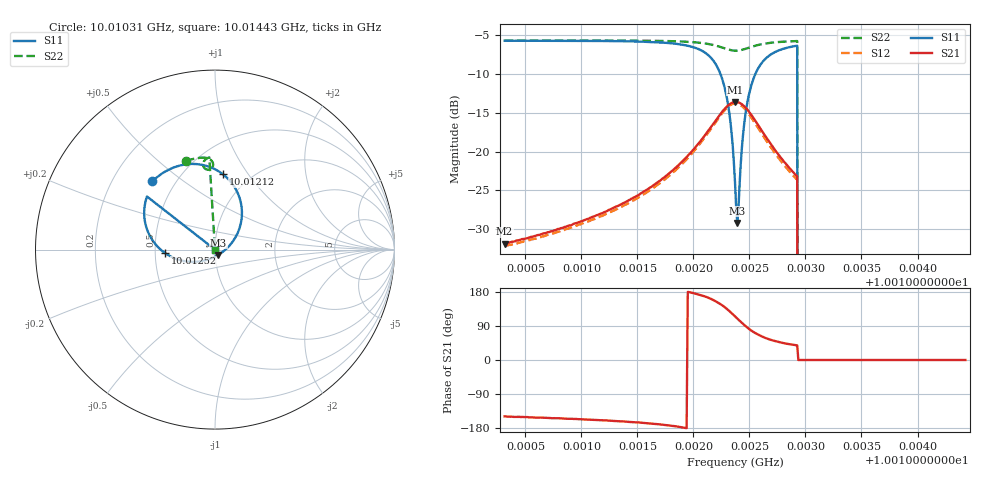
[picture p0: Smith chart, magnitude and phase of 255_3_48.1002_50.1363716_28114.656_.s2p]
#  HZ  S  RI  R  50.00
! Rohde & Schwarz Vector Network Analyzer
! Rohde-Schwarz,ZNB20-2Port,1311601062101988,3.16
! Created: UTC 12/23/2023, 4:00:12 AM
! freq[Hz]  re:S11  im:S11  re:S21  im:S21  re:S12  im:S12  re:S22  im:S22
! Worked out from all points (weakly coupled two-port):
!   401 points, 10.01031 GHz to 10.01443 GHz, reference 50 ohm
!   highest |S21| = -13.61 dB at 10.01237 GHz (marker M1); lowest = -31.9 dB at 10.01031 GHz (marker M2)
!   lowest |S11| = -29.2 dB at 10.01239 GHz (marker M3), VSWR 1.07, Z = 51.8 - j3.03 ohm
!   |S11| at or under -10 dB: 10.01224 GHz to 10.01255 GHz (312.3 kHz wide, 0.00312 % of centre); 10.01293 GHz to end of sweep
!   |S22| runs from - to -5.7 dB; largest |S21 - S12| = 0.0099
!   S11 on the Smith chart (normalised r, x): 10.01031 GHz: 0.37, +0.39; 10.01212 GHz: 0.75, +0.77; 10.01252 GHz: 0.56, -0.02; 10.01443 GHz: 1.00, +0.00
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1.0010314e10  -0.3484 0.3824  -0.0218 -0.0133  -0.0204 -0.0138  -0.1626 0.4931
1.0011003e10  -0.292 0.4262  -0.0327 -0.0142  -0.0307 -0.0154  -0.117 0.5061
1.0011692e10  -0.1799 0.472  -0.0632 -0.0116  -0.0603 -0.0145  -0.064 0.5122
1.0011939e10  -0.0857 0.4745  -0.0924 -0.000176  -0.089 -0.00531  -0.0395 0.5082
1.0012124e10  0.0434 0.4204  -0.1295 0.0338  -0.1276 0.0259  -0.018 0.494
1.0012216e10  0.1223 0.3239  -0.146 0.0782  -0.1465 0.0685  -0.0106 0.4775
1.0012288e10  0.1497 0.1874  -0.141 0.1304  -0.144 0.1211  -0.0136 0.4597
1.001233e10  0.1263 0.0922  -0.1214 0.1632  -0.1252 0.1554  -0.0214 0.4504
1.001235e10  0.0998 0.0461  -0.1065 0.1775  -0.111 0.1699  -0.0272 0.4471
1.0012371e10  0.0633 0.00444  -0.0888 0.189  -0.094 0.1816  -0.0335 0.4452
1.0012381e10  0.0419 -0.0136  -0.0789 0.1933  -0.0842 0.1861  -0.0367 0.4447
1.0012391e10  0.0186 -0.0292  -0.0686 0.1968  -0.0743 0.1897  -0.0402 0.4449
1.0012412e10  -0.0316 -0.053  -0.0483 0.2002  -0.0535 0.1938  -0.0466 0.4461
1.0012443e10  -0.1093 -0.0682  -0.0181 0.1982  -0.0221 0.1921  -0.0552 0.4506
1.0012463e10  -0.1595 -0.0661  0.000463 0.1926  -0.00461 0.1865  -0.0595 0.4549
1.0012525e10  -0.2791 -0.0186  0.041 0.1639  0.0348 0.1587  -0.0661 0.4699
1.0012659e10  -0.3844 0.13  0.0669 0.1004  0.0604 0.098  -0.0592 0.4951
1.0012906e10  -0.3817 0.288  0.0553 0.0456  0.0508 0.0456  -0.0336 0.5133
1.0012957e10  0 0  0 0  0 0  0 0
1.001306e10  0 0  0 0  0 0  0 0
1.0013749e10  0 0  0 0  0 0  0 0
1.0014428e10  0 0  0 0  0 0  0 0
